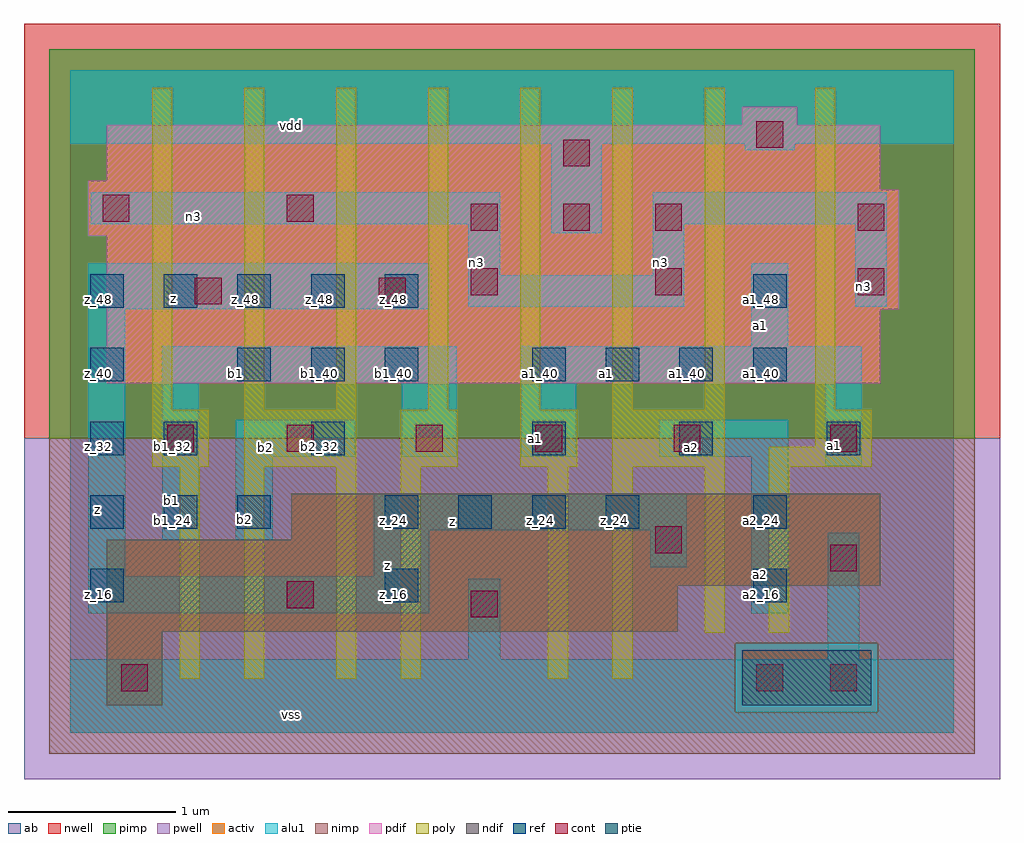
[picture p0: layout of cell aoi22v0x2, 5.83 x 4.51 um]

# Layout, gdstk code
import gdstk
lib = gdstk.Library(unit=1e-6, precision=2.5e-09)
def R(c, l, rs):  # rectangles x0, y0, x1, y1
    for r in rs: c.add(gdstk.rectangle(r[:2], r[2:], *l))
def A(c, l, x, y, w, h, nx, ny, dx, dy):  # array of equal rectangles
    R(c, l, [(x+i*dx, y+j*dy, x+i*dx+w, y+j*dy+h) for i in range(nx) for j in range(ny)])
ndif = (3, 0)
pdif = (4, 0)
ptie = (6, 0)
ref = (24, 0)
cont = (25, 0)
pwell = (41, 0)
nwell = (42, 0)
activ = (43, 0)
pimp = (44, 0)
nimp = (45, 0)
poly = (46, 0)
alu1 = (49, 0)
ab = (63, 0)

aoi22v0x2 = lib.new_cell('aoi22v0x2')
R(aoi22v0x2, ndif, [(0.22,0.165,0.55,0.605), (0.22,0.605,3.63,0.88), (0.22,0.88,4.84,1.155), (1.32,1.155,4.84,1.43)])
R(aoi22v0x2, pdif, [(0.22,2.09,4.84,2.53), (0.22,2.53,4.95,2.97), (0.11,2.97,4.95,3.245), (0.11,3.245,4.84,3.3), (0.22,3.3,4.84,3.63), (4.015,3.63,4.345,3.74)])
R(aoi22v0x2, ptie, [(4.015,0.165,4.785,0.495)])
A(aoi22v0x2, ref, 0.12, 1.22, 0.2, 0.2, 3, 1, 0.44, 0)
A(aoi22v0x2, ref, 1.88, 1.22, 0.2, 0.2, 4, 1, 0.44, 0)
A(aoi22v0x2, ref, 2.76, 1.66, 0.2, 0.2, 3, 1, 0.88, 0)
A(aoi22v0x2, ref, 1, 2.1, 0.2, 0.2, 3, 1, 0.44, 0)
A(aoi22v0x2, ref, 2.76, 2.1, 0.2, 0.2, 4, 1, 0.44, 0)
A(aoi22v0x2, ref, 0.12, 2.54, 0.2, 0.2, 5, 1, 0.44, 0)
R(aoi22v0x2, ref, [(0.12,0.78,0.32,0.98), (1.88,0.78,2.08,0.98), (4.08,0.78,4.28,0.98), (4.08,1.22,4.28,1.42), (0.12,1.66,0.32,1.86), (0.56,1.66,0.76,1.86), (1.44,1.66,1.64,1.86), (0.12,2.1,0.32,2.3), (4.08,2.54,4.28,2.74)])
A(aoi22v0x2, cont, 4.54, 0.25, 0.16, 0.16, 1, 3, 0, 0.715)
A(aoi22v0x2, cont, 2.395, 3, 0.16, 0.16, 3, 1, 0.55, 0)
R(aoi22v0x2, cont, [(0.305,0.25,0.465,0.41), (4.1,0.25,4.26,0.41), (2.395,0.69,2.555,0.85), (1.295,0.745,1.455,0.905), (3.495,1.075,3.655,1.235), (0.58,1.68,0.74,1.84), (1.295,1.68,1.455,1.84), (2.065,1.68,2.225,1.84), (2.78,1.68,2.94,1.84), (3.605,1.68,3.765,1.84), (0.745,2.56,0.905,2.72), (1.845,2.56,2.005,2.72), (2.395,2.615,2.555,2.775), (3.495,2.615,3.655,2.775), (4.705,2.615,4.865,2.775), (4.705,3,4.865,3.16), (0.195,3.055,0.355,3.215), (1.295,3.055,1.455,3.215), (2.945,3.385,3.105,3.545), (4.1,3.495,4.26,3.655)])
R(aoi22v0x2, pwell, [(-0.275,-0.275,5.555,1.76)])
R(aoi22v0x2, nwell, [(-0.275,1.76,5.555,4.235)])
R(aoi22v0x2, activ, [(0.22,0.165,0.55,0.605), (4.015,0.165,4.785,0.495), (0.22,0.605,3.63,0.88), (0.22,0.88,4.84,1.155), (1.32,1.155,4.84,1.43), (0.22,2.09,4.84,2.53), (0.22,2.53,4.95,2.97), (0.11,2.97,4.95,3.245), (0.11,3.245,4.84,3.3), (0.22,3.3,4.84,3.63), (4.015,3.63,4.345,3.74)])
R(aoi22v0x2, pimp, [(3.975,0.125,4.825,0.535), (-0.125,1.76,5.405,4.085)])
R(aoi22v0x2, nimp, [(-0.125,-0.125,5.405,0.125), (-0.125,0.125,3.975,0.535), (4.825,0.125,5.405,0.535), (-0.125,0.535,5.405,1.76)])
A(aoi22v0x2, poly, 0.49, 1.93, 0.12, 1.925, 7, 1, 0.55, 0)
R(aoi22v0x2, poly, [(0.655,0.325,0.775,1.59), (1.04,0.325,1.16,1.59), (1.59,0.325,1.71,1.59), (1.975,0.325,2.095,1.59), (2.855,0.325,2.975,1.59), (3.24,0.325,3.36,1.59), (3.79,0.6,3.91,1.59), (4.175,0.6,4.295,1.59), (0.49,1.59,0.83,1.93), (1.04,1.59,1.71,1.93), (1.975,1.59,2.315,1.93), (2.69,1.59,3.03,1.93), (3.24,1.59,3.91,1.93), (4.175,1.59,4.79,1.71), (4.45,1.71,4.79,1.93), (4.45,1.93,4.57,3.855)])
R(aoi22v0x2, alu1, [(0,0,5.28,0.44), (2.38,0.44,2.57,0.92), (4.525,0.44,4.715,1.195), (0.11,0.715,2.145,0.935), (4.07,0.715,4.29,1.65), (0.11,0.935,0.33,2.53), (1.815,0.935,2.145,1.21), (3.465,0.99,3.685,1.21), (0.55,1.155,0.77,2.09), (0.99,1.155,1.21,1.65), (1.815,1.21,3.685,1.43), (4.51,1.595,4.73,2.09), (0.99,1.65,1.705,1.87), (1.98,1.65,2.31,2.09), (2.695,1.65,3.025,2.09), (3.52,1.65,4.29,1.87), (0.55,2.09,2.31,2.31), (2.695,2.09,4.73,2.31), (4.07,2.31,4.29,2.805), (0.11,2.53,2.145,2.805), (2.38,2.545,3.67,2.735), (4.69,2.545,4.88,3.04), (2.38,2.735,2.57,3.04), (3.48,2.735,3.67,3.04), (2.875,2.985,3.175,3.52), (0.125,3.04,2.57,3.23), (3.48,3.04,4.88,3.23), (4.03,3.48,4.33,3.52), (0,3.52,5.28,3.96)])
R(aoi22v0x2, ab, [(0,0,5.28,3.96)])
aoi22v0x2.add(gdstk.Label('vss', (1.32,0.11), layer=49, texttype=0))
aoi22v0x2.add(gdstk.Label('a1', (4.565,1.7175), layer=49, texttype=0))
aoi22v0x2.add(gdstk.Label('a2', (4.125,0.9475), layer=49, texttype=0))
aoi22v0x2.add(gdstk.Label('z', (1.8975,1.0025), layer=49, texttype=0))
aoi22v0x2.add(gdstk.Label('z', (2.2825,1.265), layer=49, texttype=0))
aoi22v0x2.add(gdstk.Label('b2', (1.045,1.2775), layer=49, texttype=0))
aoi22v0x2.add(gdstk.Label('a2', (3.7125,1.705), layer=49, texttype=0))
aoi22v0x2.add(gdstk.Label('a1', (2.7775,1.76), layer=49, texttype=0))
aoi22v0x2.add(gdstk.Label('a1', (3.2025,2.145), layer=49, texttype=0))
aoi22v0x2.add(gdstk.Label('b2', (1.1675,1.705), layer=49, texttype=0))
aoi22v0x2.add(gdstk.Label('b1', (0.605,1.3875), layer=49, texttype=0))
aoi22v0x2.add(gdstk.Label('b1', (0.99,2.145), layer=49, texttype=0))
aoi22v0x2.add(gdstk.Label('n3', (4.7375,2.6675), layer=49, texttype=0))
aoi22v0x2.add(gdstk.Label('a1', (4.125,2.4325), layer=49, texttype=0))
aoi22v0x2.add(gdstk.Label('z', (0.165,1.3325), layer=49, texttype=0))
aoi22v0x2.add(gdstk.Label('n3', (3.5275,2.81), layer=49, texttype=0))
aoi22v0x2.add(gdstk.Label('n3', (2.4275,2.81), layer=49, texttype=0))
aoi22v0x2.add(gdstk.Label('z', (0.6175,2.5975), layer=49, texttype=0))
aoi22v0x2.add(gdstk.Label('n3', (0.735,3.0875), layer=49, texttype=0))
aoi22v0x2.add(gdstk.Label('vdd', (1.32,3.63), layer=49, texttype=0))
aoi22v0x2.add(gdstk.Label('b1_24', (0.61,1.27), layer=24, texttype=0))
aoi22v0x2.add(gdstk.Label('b1_32', (0.61,1.71), layer=24, texttype=0))
aoi22v0x2.add(gdstk.Label('z_48', (0.61,2.59), layer=24, texttype=0))
aoi22v0x2.add(gdstk.Label('b2_24', (1.05,1.27), layer=24, texttype=0))
aoi22v0x2.add(gdstk.Label('b1_40', (1.05,2.15), layer=24, texttype=0))
aoi22v0x2.add(gdstk.Label('z_48', (1.05,2.59), layer=24, texttype=0))
aoi22v0x2.add(gdstk.Label('b2_32', (1.49,1.71), layer=24, texttype=0))
aoi22v0x2.add(gdstk.Label('b1_40', (1.49,2.15), layer=24, texttype=0))
aoi22v0x2.add(gdstk.Label('z_48', (1.49,2.59), layer=24, texttype=0))
aoi22v0x2.add(gdstk.Label('z_16', (1.93,0.83), layer=24, texttype=0))
aoi22v0x2.add(gdstk.Label('z_24', (1.93,1.27), layer=24, texttype=0))
aoi22v0x2.add(gdstk.Label('b1_40', (1.93,2.15), layer=24, texttype=0))
aoi22v0x2.add(gdstk.Label('z_48', (1.93,2.59), layer=24, texttype=0))
aoi22v0x2.add(gdstk.Label('z_16', (0.17,0.83), layer=24, texttype=0))
aoi22v0x2.add(gdstk.Label('z_24', (0.17,1.27), layer=24, texttype=0))
aoi22v0x2.add(gdstk.Label('z_32', (0.17,1.71), layer=24, texttype=0))
aoi22v0x2.add(gdstk.Label('z_40', (0.17,2.15), layer=24, texttype=0))
aoi22v0x2.add(gdstk.Label('z_48', (0.17,2.59), layer=24, texttype=0))
aoi22v0x2.add(gdstk.Label('z_24', (2.37,1.27), layer=24, texttype=0))
aoi22v0x2.add(gdstk.Label('z_24', (2.81,1.27), layer=24, texttype=0))
aoi22v0x2.add(gdstk.Label('a1_32', (2.81,1.71), layer=24, texttype=0))
aoi22v0x2.add(gdstk.Label('a1_40', (2.81,2.15), layer=24, texttype=0))
aoi22v0x2.add(gdstk.Label('z_24', (3.25,1.27), layer=24, texttype=0))
aoi22v0x2.add(gdstk.Label('a1_40', (3.25,2.15), layer=24, texttype=0))
aoi22v0x2.add(gdstk.Label('a2_32', (3.69,1.71), layer=24, texttype=0))
aoi22v0x2.add(gdstk.Label('a1_40', (3.69,2.15), layer=24, texttype=0))
aoi22v0x2.add(gdstk.Label('a2_16', (4.13,0.83), layer=24, texttype=0))
aoi22v0x2.add(gdstk.Label('a2_24', (4.13,1.27), layer=24, texttype=0))
aoi22v0x2.add(gdstk.Label('a1_40', (4.13,2.15), layer=24, texttype=0))
aoi22v0x2.add(gdstk.Label('a1_48', (4.13,2.59), layer=24, texttype=0))
aoi22v0x2.add(gdstk.Label('a1_32', (4.57,1.71), layer=24, texttype=0))

lib.write_gds('aoi22v0x2.gds')
